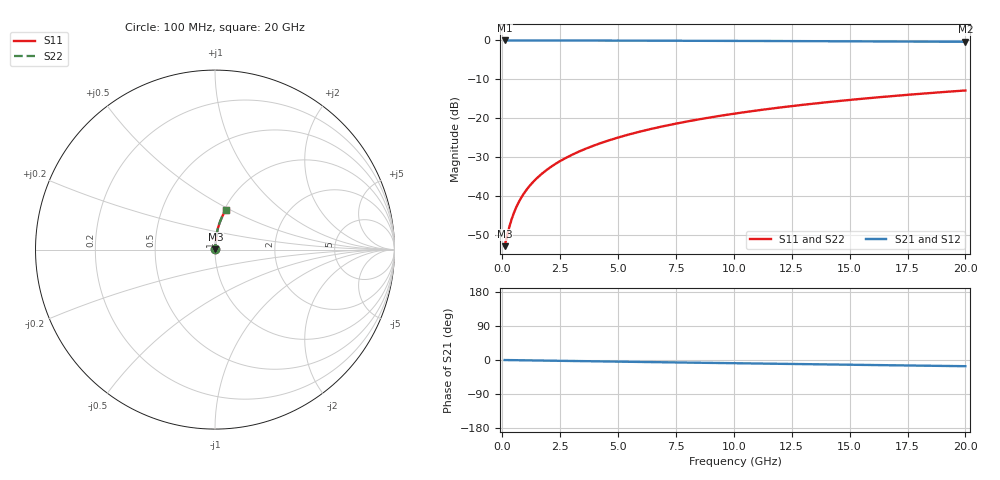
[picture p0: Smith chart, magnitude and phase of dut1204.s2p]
! Touchstone file exported from HFSS 2024.1.0
!  File:  C:/UserFiles/LocalFiles/RDL_TSV_Batchsim/temp_RDL_top_1204_1780239612.aedt
!  Generated:  11:02:46 PM May 31, 2026
!  Design:  RDL_top
!  Project:  temp_RDL_top_1204_1780239612
!  Setup:  Setup1
!  Solution:  Sweep
! Variables:
!  dtsv = 10.80580581um
!  hbump = 3um
!  htsv = 91.98um
!  ldown = 100um
!  lrdl = 139.86um
!  p = 40
!  p1 = 57.23um
!  rhole = 1um
!  t = 450um
!  tdown = 3.915915916um
!  trdl = 2.23um
!  wdown = 15.38538539um
!  wrdl = 13.11um
# GHz S MA R 50.000000
! Terminal data exported
! Port[1] = Box2_T1
! Port[2] = Box2_T2
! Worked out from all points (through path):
!   200 points, 100 MHz to 20 GHz, reference 50 ohm
!   highest |S21| = -0.02 dB at 100 MHz (marker M1); lowest = -0.4 dB at 20 GHz (marker M2)
!   group delay of S21, straight-line fit = 2.27 ps
!   lowest |S11| = -52.7 dB at 100 MHz (marker M3), VSWR 1.00, Z = 50.2 + j0.117 ohm
!   |S11| at or under -10 dB: start of sweep to end of sweep
!   |S22| runs from -52.7 to -12.8 dB; largest |S21 - S12| = 4e-15
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0.1  0.002308 30.3  0.998 -0.1  0.998 -0.1  0.002308 30.3
! Gamma 0 0 0 0
! Port Impedance 50 0 50 0
0.3  0.004037 59.8  0.998 -0.3  0.998 -0.3  0.004037 59.8
0.4  0.005078 66.0  0.9979 -0.4  0.9979 -0.4  0.005078 66.0
0.5  0.006154 70.0  0.9979 -0.4  0.9979 -0.4  0.006154 70.0
0.6  0.007247 72.8  0.9978 -0.5  0.9978 -0.5  0.007247 72.8
0.8  0.009452 76.4  0.9977 -0.7  0.9977 -0.7  0.009452 76.4
1.1  0.01278 79.5  0.9976 -1.0  0.9976 -1.0  0.01278 79.5
1.3  0.015 80.7  0.9975 -1.2  0.9975 -1.2  0.015 80.7
1.5  0.01723 81.7  0.9974 -1.3  0.9974 -1.3  0.01723 81.7
1.8  0.02058 82.7  0.9972 -1.6  0.9972 -1.6  0.02058 82.7
2.1  0.02394 83.4  0.997 -1.8  0.997 -1.8  0.02394 83.4
2.7  0.03069 84.2  0.9965 -2.4  0.9965 -2.4  0.03069 84.2
3.5  0.03975 84.8  0.9958 -3.1  0.9958 -3.1  0.03975 84.8
4.2  0.04773 84.9  0.995 -3.7  0.995 -3.7  0.04773 84.9
5  0.05689 84.9  0.9939 -4.3  0.9939 -4.3  0.05689 84.9
5.9  0.06726 84.6  0.9926 -5.1  0.9926 -5.1  0.06726 84.6
6.8  0.07767 84.3  0.9912 -5.9  0.9912 -5.9  0.07767 84.3
8.3  0.09511 83.5  0.9885 -7.1  0.9885 -7.1  0.09511 83.5
10.1  0.1161 82.4  0.9849 -8.6  0.9849 -8.6  0.1161 82.4
13.4  0.1543 80.0  0.9774 -11.2  0.9774 -11.2  0.1543 80.0
16.7  0.1918 77.4  0.9689 -13.8  0.9689 -13.8  0.1918 77.4
20  0.2282 74.8  0.9595 -16.4  0.9595 -16.4  0.2282 74.8
